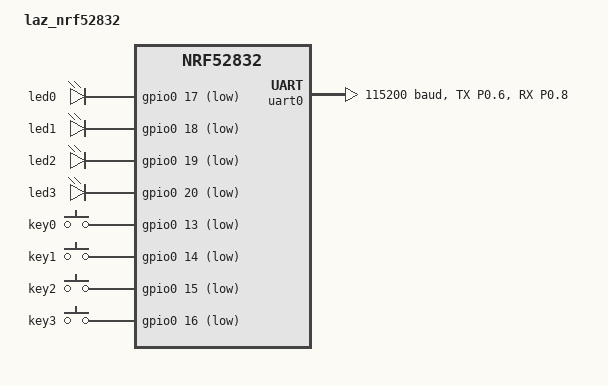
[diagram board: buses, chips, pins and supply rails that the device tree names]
// Copyright (c) 2023 Nordic Semiconductor ASA
// SPDX-License-Identifier: Apache-2.0

/dts-v1/;
#include <nordic/nrf52832_qfaa.dtsi>

/ {
	model = "laz_nrf52832";
	compatible = "laz-nrf52832";

	chosen {
		zephyr,sram = &sram0;
		zephyr,flash = &flash0;
		zephyr,code-partition = &slot0_partition;
	};

	leds {
		compatible = "gpio-leds";
		led0: led_0 {
			gpios = <&gpio0 17 (GPIO_ACTIVE_LOW | GPIO_PULL_UP)>;
		};
		led1: led_1 {
			gpios = <&gpio0 18 (GPIO_ACTIVE_LOW | GPIO_PULL_UP)>;
		};
		led2: led_2 {
			gpios = <&gpio0 19 (GPIO_ACTIVE_LOW | GPIO_PULL_UP)>;
		};
		led3: led_3 {
			gpios = <&gpio0 20 (GPIO_ACTIVE_LOW | GPIO_PULL_UP)>;
		};
	};

	keys {
		compatible = "gpio-keys";
		key0: key_0 {
			gpios = <&gpio0 13 (GPIO_ACTIVE_LOW | GPIO_PULL_UP)>;
		};
		key1: key_1 {
			gpios = <&gpio0 14 (GPIO_ACTIVE_LOW | GPIO_PULL_UP)>;
		};
		key2: key_2 {
			gpios = <&gpio0 15 (GPIO_ACTIVE_LOW | GPIO_PULL_UP)>;
		};
		key3: key_3 {
			gpios = <&gpio0 16 (GPIO_ACTIVE_LOW | GPIO_PULL_UP)>;
		};
	};

	aliases {
		led0 = &led0;
		led1 = &led1;
		led2 = &led2;
		led3 = &led3;

		key0 = &key0;
		key1 = &key1;
		key2 = &key2;
		key3 = &key3;

		sw0 = &key0;
		sw1 = &key1;
		sw2 = &key2;
		sw3 = &key3;
	};
};

&flash0 {
	partitions {
		compatible = "fixed-partitions";
		#address-cells = <1>;
		#size-cells = <1>;

		boot_partition: partition@0 {
			label = "mcuboot";
			reg = <0x0 0xc000>;
		};
		slot0_partition: partition@c000 {
			label = "image-0";
			reg = <0xc000 0x32000>;
		};
		slot1_partition: partition@3e000 {
			label = "image-1";
			reg = <0x3e000 0x32000>;
		};
		scratch_partition: partition@70000 {
			label = "image-scratch";
			reg = <0x70000 0xa000>;
		};
		storage_partition: partition@7a000 {
			label = "storage";
			reg = <0x7a000 0x6000>;
		};
	};
};


&gpio0 {
	status = "okay";
};


&pinctrl {
	uart0_default: uart0_default {
		group1 {
			/*
			psels = <NRF_PSEL(UART_RTS, 0, 5)>,
					<NRF_PSEL(UART_TX,  0, 6)>,
					<NRF_PSEL(UART_CTS, 0, 7)>,
					<NRF_PSEL(UART_RX,  0, 8)>;
			*/
			psels = <NRF_PSEL(UART_TX,  0, 6)>,
					<NRF_PSEL(UART_RX,  0, 8)>;
		};
	};
	uart0_sleep: uart0_sleep {
		group1 {
			/*
			psels = <NRF_PSEL(UART_RTS, 0, 5)>,
					<NRF_PSEL(UART_TX,  0, 6)>,
					<NRF_PSEL(UART_CTS, 0, 7)>,
					<NRF_PSEL(UART_RX,  0, 8)>;
			*/
			psels = <NRF_PSEL(UART_TX,  0, 6)>,
					<NRF_PSEL(UART_RX,  0, 8)>;
			low-power-enable;
		};
	};
};


&uart0 {
	compatible = "nordic,nrf-uarte";
	status = "okay";
	current-speed = <115200>;
	pinctrl-0 = <&uart0_default>;
	pinctrl-1 = <&uart0_sleep>;
	pinctrl-names = "default", "sleep";
};
